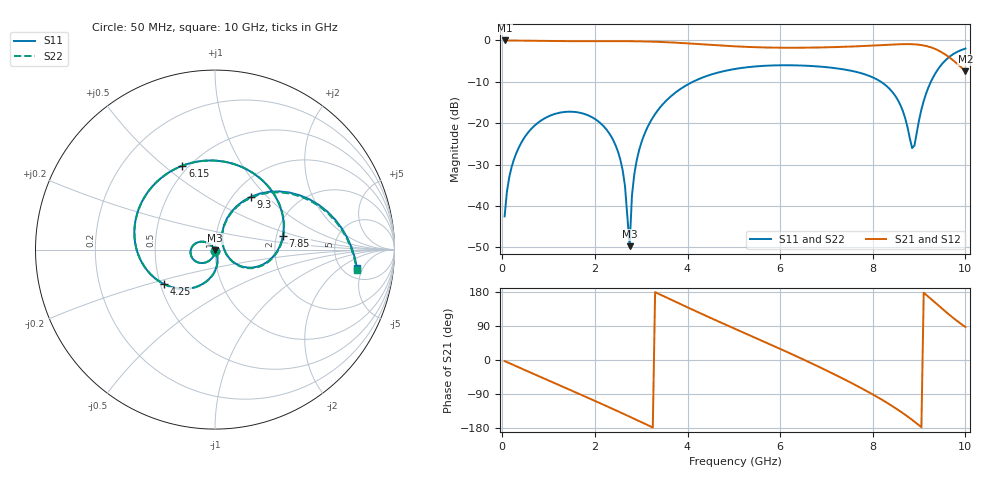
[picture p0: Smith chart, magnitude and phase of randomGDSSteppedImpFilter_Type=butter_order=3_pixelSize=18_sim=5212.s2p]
! freq	dB(S11)	phase(S11)	dB(S12)	phase(S12)
!  dB(S21)	phase(S21)	dB(S22)	phase(S22)
!S-par simulation data
#  GHz  S  DB  R 50
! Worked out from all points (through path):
!   200 points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, 50 MHz to 10 GHz, reference 50 ohm
!   highest |S21| = 0.00 dB at 50 MHz (marker M1); lowest = -7.5 dB at 10 GHz (marker M2)
!   group delay of S21, straight-line fit = 166 ps
!   lowest |S11| = -49.7 dB at 2.75 GHz (marker M3), VSWR 1.01, Z = 50 - j0.326 ohm
!   |S11| at or under -10 dB: start of sweep to 4.115 GHz; 8.176 GHz to 9.255 GHz (1.079 GHz wide, 12.4 % of centre)
!   |S22| runs from -50.9 to -2.0 dB; largest |S21 - S12| = 0
!   S11 on the Smith chart (normalised r, x): 50 MHz: 1.00, -0.01; 4.25 GHz: 0.52, -0.23; 6.15 GHz: 0.46, +0.58; 7.85 GHz: 2.17, +0.39; 9.3 GHz: 1.20, +0.81; 10 GHz: 6.69, -3.80
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0.05  -42.54 -92.0  -0.00 -2.8  -0.00 -2.8  -42.54 -92.0
0.2  -30.65 -100.0  -0.03 -11.0  -0.03 -11.0  -30.65 -100.0
0.55  -22.35 -120.4  -0.07 -29.9  -0.07 -29.9  -22.35 -120.4
1.15  -17.72 -152.7  -0.15 -62.2  -0.15 -62.2  -17.72 -152.9
1.75  -17.69 175.2  -0.19 -94.4  -0.19 -94.4  -17.69 174.9
2.5  -26.95 135.5  -0.17 -135.5  -0.17 -135.5  -26.95 134.1
2.65  -35.24 130.3  -0.18 -143.9  -0.18 -143.9  -35.27 126.7
2.75  -49.73 -91.3  -0.19 -149.6  -0.19 -149.6  -50.86 -70.6
2.8  -37.47 -70.0  -0.19 -152.4  -0.19 -152.4  -37.53 -65.3
2.9  -29.11 -71.5  -0.20 -158.1  -0.20 -158.1  -29.13 -69.8
3.4  -16.29 -98.1  -0.35 173.2  -0.35 173.2  -16.29 -97.8
4.25  -9.31 -145.8  -0.89 124.8  -0.89 124.8  -9.31 -145.8
5.05  -6.84 170.7  -1.44 80.9  -1.44 80.9  -6.85 170.5
6.15  -5.99 111.2  -1.77 21.1  -1.77 21.1  -6.00 110.7
6.7  -6.20 80.3  -1.73 -10.0  -1.73 -10.0  -6.20 79.6
7.85  -8.27 11.4  -1.32 -80.7  -1.32 -80.7  -8.27 10.4
8.35  -11.56 -20.2  -1.03 -116.1  -1.03 -116.1  -11.57 -21.2
8.65  -17.08 -34.1  -0.89 -140.2  -0.89 -140.2  -17.10 -35.2
8.85  -26.02 4.8  -0.91 -158.0  -0.91 -158.0  -26.09 4.0
9.3  -8.98 55.8  -1.84 156.6  -1.84 156.6  -8.97 55.0
9.6  -4.49 27.9  -3.66 124.7  -3.66 124.7  -4.48 27.1
10  -1.96 -7.5  -7.47 87.1  -7.47 87.1  -1.96 -8.2
